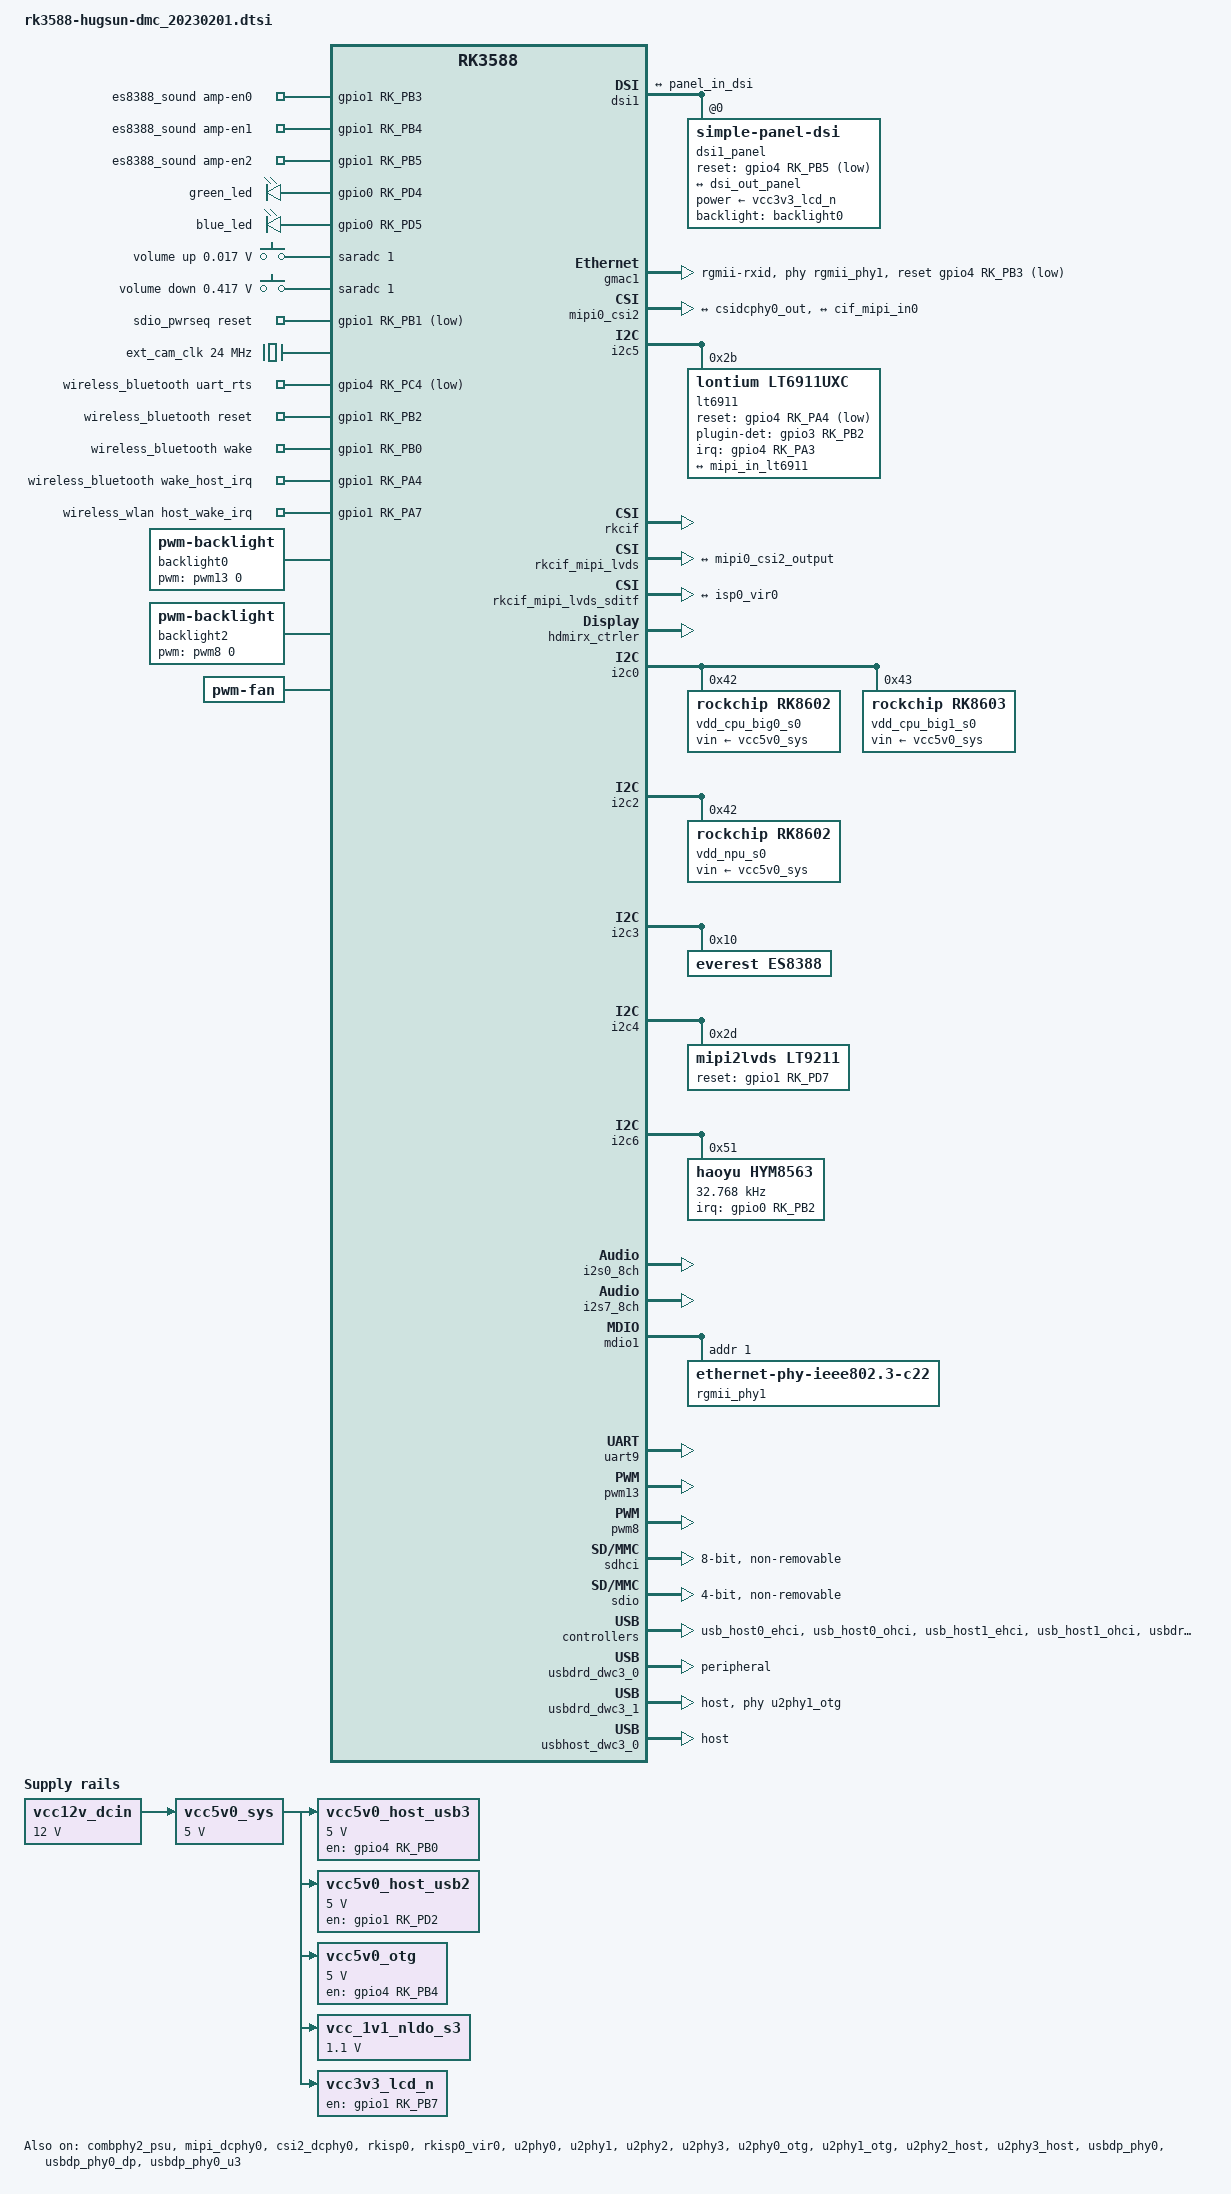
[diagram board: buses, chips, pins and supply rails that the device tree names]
// SPDX-License-Identifier: (GPL-2.0+ OR MIT)
/*
 * Copyright (c) 2021 Rockchip Electronics Co., Ltd.
 *
 */

#include "dt-bindings/usb/pd.h"
#include "rk3588.dtsi"
#include "rk3588-hugsun.dtsi"
#include "rk3588-rk806-single.dtsi"

/ {
	/* If hdmirx node is disabled, delete the reserved-memory node here. */
	reserved-memory {
		#address-cells = <2>;
		#size-cells = <2>;
		ranges;

		/* Reserve 256MB memory for hdmirx-controller@fdee0000 */
		cma {
			compatible = "shared-dma-pool";
			reusable;
			reg = <0x0 (256 * 0x100000) 0x0 (256 * 0x100000)>;
			linux,cma-default;
		};
	};

	es8388_sound: es8388-sound {
		status = "okay";
		compatible = "rockchip,multicodecs-card";
		rockchip,card-name = "rockchip-es8388";
		//hp-det-gpio = <&gpio3 RK_PB2 GPIO_ACTIVE_HIGH>;
		//spk-con-gpio = <&gpio1 RK_PB3 GPIO_ACTIVE_HIGH>;
		//hp-con-gpio = <&gpio1 RK_PB4 GPIO_ACTIVE_HIGH>;
		rockchip,amp-en-ctl;
		amp-en0-gpio = <&gpio1 RK_PB3 GPIO_ACTIVE_HIGH>;
		amp-en1-gpio = <&gpio1 RK_PB4 GPIO_ACTIVE_HIGH>;
		amp-en2-gpio = <&gpio1 RK_PB5 GPIO_ACTIVE_HIGH>;		
		pinctrl-names = "default";
		pinctrl-0 = <&ampen>;				
		rockchip,format = "i2s";
		rockchip,mclk-fs = <256>;
		rockchip,cpu = <&i2s0_8ch>;
		rockchip,codec = <&es8388>;
		rockchip,audio-routing =
			"Headphone", "LOUT1",
			"Headphone", "ROUT1",
			"Speaker", "LOUT2",
			"Speaker", "ROUT2",
			"Headphone", "Headphone Power",
			"Headphone", "Headphone Power",
			"Speaker", "Speaker Power",
			"Speaker", "Speaker Power",
			"LINPUT1", "Main Mic",
			"LINPUT2", "Main Mic",
			"RINPUT1", "Headset Mic",
			"RINPUT2", "Headset Mic";
	};

	rk_headset: rk-headset {
		status = "disabled";
		compatible = "rockchip_headset";
		headset_gpio = <&gpio3 RK_PB2 GPIO_ACTIVE_LOW>;
		pinctrl-names = "default";
		pinctrl-0 = <&hp_det>;
		io-channels = <&saradc 3>;
	};

	hdmiin_dc: hdmiin-dc {
		compatible = "rockchip,dummy-codec";
		#sound-dai-cells = <0>;
	};

	hdmiin-sound {
		compatible = "simple-audio-card";
		simple-audio-card,format = "i2s";
		simple-audio-card,name = "rockchip,hdmiin";
		simple-audio-card,bitclock-master = <&dailink0_master>;
		simple-audio-card,frame-master = <&dailink0_master>;
		status = "okay";
		simple-audio-card,cpu {
			sound-dai = <&i2s7_8ch>;
		};
		dailink0_master: simple-audio-card,codec {
			sound-dai = <&hdmiin_dc>;
		};
	};	

	leds: leds {
		compatible = "gpio-leds";
		green_led: green-led {
			gpios = <&gpio0 RK_PD4 GPIO_ACTIVE_HIGH>;
			default-state = "off";
		};
		blue_led: blue-led {
			gpios = <&gpio0 RK_PD5 GPIO_ACTIVE_HIGH>;
			default-state = "off";
		};
	};

	adc_keys: adc-keys {
		compatible = "adc-keys";
		io-channels = <&saradc 1>;
		io-channel-names = "buttons";
		keyup-threshold-microvolt = <1800000>;
		poll-interval = <100>;

		vol-up-key {
			label = "volume up";
			linux,code = <KEY_VOLUMEUP>;
			press-threshold-microvolt = <17000>;
		};

		vol-down-key {
			label = "volume down";
			linux,code = <KEY_VOLUMEDOWN>;
			press-threshold-microvolt = <417000>;
		};
	};

	sdio_pwrseq: sdio-pwrseq {
		compatible = "mmc-pwrseq-simple";
		clocks = <&hym8563>;
		clock-names = "ext_clock";
		pinctrl-names = "default";
		pinctrl-0 = <&wifi_enable_h>;
		/*
		 * On the module itself this is one of these (depending
		 * on the actual card populated):
		 * - SDIO_RESET_L_WL_REG_ON
		 * - PDN (power down when low)
		 */
		post-power-on-delay-ms = <200>;
		reset-gpios = <&gpio1 RK_PB1 GPIO_ACTIVE_LOW>;
	};

	vcc12v_dcin: vcc12v-dcin {
		compatible = "regulator-fixed";
		regulator-name = "vcc12v_dcin";
		regulator-always-on;
		regulator-boot-on;
		regulator-min-microvolt = <12000000>;
		regulator-max-microvolt = <12000000>;
	};

	vcc5v0_sys: vcc5v0-sys {
		compatible = "regulator-fixed";
		regulator-name = "vcc5v0_sys";
		regulator-always-on;
		regulator-boot-on;
		regulator-min-microvolt = <5000000>;
		regulator-max-microvolt = <5000000>;
		vin-supply = <&vcc12v_dcin>;
	};

	vcc5v0_host_usb3: vcc5v0-host-regulator-usb3 {
		compatible = "regulator-fixed";
		regulator-name = "vcc5v0_host";
		regulator-boot-on;
		regulator-always-on;
		regulator-min-microvolt = <5000000>;
		regulator-max-microvolt = <5000000>;
		enable-active-high;
		gpio = <&gpio4 RK_PB0 GPIO_ACTIVE_HIGH>;
		vin-supply = <&vcc5v0_sys>;
		pinctrl-names = "default";
		pinctrl-0 = <&vcc5v0_host_usb3_en>;
	};
	
	vcc5v0_host_usb2: vcc5v0-host-regulator-usb2 {
		compatible = "regulator-fixed";
		regulator-name = "vcc5v0_host";
		regulator-boot-on;
		regulator-always-on;
		regulator-min-microvolt = <5000000>;
		regulator-max-microvolt = <5000000>;
		enable-active-high;
		gpio = <&gpio1 RK_PD2 GPIO_ACTIVE_HIGH>;
		vin-supply = <&vcc5v0_sys>;
		pinctrl-names = "default";
		pinctrl-0 = <&vcc5v0_host_usb2_en>;
	};	

	vcc5v0_otg: vcc5v0-otg-regulator {
		compatible = "regulator-fixed";
		regulator-name = "vcc5v0_otg";
		regulator-min-microvolt = <5000000>;
		regulator-max-microvolt = <5000000>;
		enable-active-high;
		gpio = <&gpio4 RK_PB4 GPIO_ACTIVE_HIGH>;
		vin-supply = <&vcc5v0_sys>;
		pinctrl-names = "default";
		pinctrl-0 = <&vcc5v0_otg_en>;
	};

	vcc_1v1_nldo_s3: vcc-1v1-nldo-s3 {
		compatible = "regulator-fixed";
		regulator-name = "vcc_1v1_nldo_s3";
		regulator-always-on;
		regulator-boot-on;
		regulator-min-microvolt = <1100000>;
		regulator-max-microvolt = <1100000>;
		vin-supply = <&vcc5v0_sys>;
	};

	vcc3v3_lcd_n: vcc3v3-lcd0-n {
		compatible = "regulator-fixed";
		regulator-name = "vcc3v3_lcd0_n";
		regulator-boot-on;
		enable-active-high;
		gpio = <&gpio1 RK_PB7 GPIO_ACTIVE_HIGH>;
		vin-supply = <&vcc5v0_sys>;
	};
	
	ext_cam_clk: external-camera-clock {
		compatible = "fixed-clock";
		clock-frequency = <24000000>;
		clock-output-names = "CLK_CAMERA_24MHZ";
		#clock-cells = <0>;
	};	

	wireless_bluetooth: wireless-bluetooth {
		compatible = "bluetooth-platdata";
		clocks = <&hym8563>;
		clock-names = "ext_clock";
		uart_rts_gpios = <&gpio4 RK_PC4 GPIO_ACTIVE_LOW>;
		pinctrl-names = "default", "rts_gpio";
		pinctrl-0 = <&uart9m0_rtsn>, <&bt_gpio>;
		pinctrl-1 = <&uart9_gpios>;
		BT,reset_gpio    = <&gpio1 RK_PB2 GPIO_ACTIVE_HIGH>;
		BT,wake_gpio     = <&gpio1 RK_PB0 GPIO_ACTIVE_HIGH>;
		BT,wake_host_irq = <&gpio1 RK_PA4 GPIO_ACTIVE_HIGH>;
		status = "okay";
	};

	wireless_wlan: wireless-wlan {
		compatible = "wlan-platdata";
		wifi_chip_type = "ap6398s";
		pinctrl-names = "default";
		pinctrl-0 = <&wifi_host_wake_irq>;
		WIFI,host_wake_irq = <&gpio1 RK_PA7 GPIO_ACTIVE_HIGH>;
		//WIFI,poweren_gpio = <&gpio1 RK_PB1 GPIO_ACTIVE_HIGH>;
		status = "okay";
	};

	backlight0: backlight0 {
		compatible = "pwm-backlight";
		pwms = <&pwm13 0 25000 0>;
		brightness-levels = <
			  0  20  20  21  21  22  22  23
			 23  24  24  25  25  26  26  27
			 27  28  28  29  29  30  30  31
			 31  32  32  33  33  34  34  35
			 35  36  36  37  37  38  38  39
			 40  41  42  43  44  45  46  47
			 48  49  50  51  52  53  54  55
			 56  57  58  59  60  61  62  63
			 64  65  66  67  68  69  70  71
			 72  73  74  75  76  77  78  79
			 80  81  82  83  84  85  86  87
			 88  89  90  91  92  93  94  95
			 96  97  98  99 100 101 102 103
			104 105 106 107 108 109 110 111
			112 113 114 115 116 117 118 119
			120 121 122 123 124 125 126 127
			128 129 130 131 132 133 134 135
			136 137 138 139 140 141 142 143
			144 145 146 147 148 149 150 151
			152 153 154 155 156 157 158 159
			160 161 162 163 164 165 166 167
			168 169 170 171 172 173 174 175
			176 177 178 179 180 181 182 183
			184 185 186 187 188 189 190 191
			192 193 194 195 196 197 198 199
			200 201 202 203 204 205 206 207
			208 209 210 211 212 213 214 215
			216 217 218 219 220 221 222 223
			224 225 226 227 228 229 230 231
			232 233 234 235 236 237 238 239
			240 241 242 243 244 245 246 247
			248 249 250 251 252 253 254 255
		>;
		default-brightness-level = <200>;
	};
	
	backlight2: backlight2 {
		compatible = "pwm-backlight";
		pwms = <&pwm8 0 25000 0>;
		brightness-levels = <
			  0  20  20  21  21  22  22  23
			 23  24  24  25  25  26  26  27
			 27  28  28  29  29  30  30  31
			 31  32  32  33  33  34  34  35
			 35  36  36  37  37  38  38  39
			 40  41  42  43  44  45  46  47
			 48  49  50  51  52  53  54  55
			 56  57  58  59  60  61  62  63
			 64  65  66  67  68  69  70  71
			 72  73  74  75  76  77  78  79
			 80  81  82  83  84  85  86  87
			 88  89  90  91  92  93  94  95
			 96  97  98  99 100 101 102 103
			104 105 106 107 108 109 110 111
			112 113 114 115 116 117 118 119
			120 121 122 123 124 125 126 127
			128 129 130 131 132 133 134 135
			136 137 138 139 140 141 142 143
			144 145 146 147 148 149 150 151
			152 153 154 155 156 157 158 159
			160 161 162 163 164 165 166 167
			168 169 170 171 172 173 174 175
			176 177 178 179 180 181 182 183
			184 185 186 187 188 189 190 191
			192 193 194 195 196 197 198 199
			200 201 202 203 204 205 206 207
			208 209 210 211 212 213 214 215
			216 217 218 219 220 221 222 223
			224 225 226 227 228 229 230 231
			232 233 234 235 236 237 238 239
			240 241 242 243 244 245 246 247
			248 249 250 251 252 253 254 255
		>;
		default-brightness-level = <200>;
	};	

	fan: pwm-fan {
		compatible = "pwm-fan";
		#cooling-cells = <2>;
		//pwms = <&pwm9 0 50000 0>;
	};
};

&combphy2_psu {
	status = "okay";
};

&dsi1 {
	status = "okay";
	//rockchip,lane-rate = <1000>;
	dsi1_panel: panel@0 {
		status = "okay";
		compatible = "simple-panel-dsi";
		reg = <0>;
		backlight = <&backlight0>;
		power-supply = <&vcc3v3_lcd_n>;
		reset-gpios = <&gpio4 RK_PB5 GPIO_ACTIVE_LOW>;
		pinctrl-names = "default";
		pinctrl-0 = <&lcd_rst_gpio>;
		reset-delay-ms = <10>;
		enable-delay-ms = <10>;
		prepare-delay-ms = <10>;
		unprepare-delay-ms = <10>;
		disable-delay-ms = <60>;
		dsi,flags = <(MIPI_DSI_MODE_VIDEO | MIPI_DSI_MODE_VIDEO_BURST |
			MIPI_DSI_MODE_LPM | MIPI_DSI_MODE_EOT_PACKET)>;
		dsi,format = <MIPI_DSI_FMT_RGB888>;
		dsi,lanes  = <4>;

		panel-init-sequence = [
		];

		panel-exit-sequence = [
		];

		display-timings {
			native-mode = <&timing0>;
			//					     //hfp, hs, hbp,hact,htotal,vfp, vs, vbp, vact,vtotal,pixclk_khz
			//struct video_timing video_1920x1080_60Hz   ={88, 44, 148,1920,  2200,  4,  5,  36, 1080, 1125, 148500};
			timing0: timing0 {
				clock-frequency = <148500000>;
				hactive = <1920>;
				vactive = <1080>; //<2160>;
				hback-porch = <148>;
				hfront-porch = <88>;
				hsync-len = <44>;
				vback-porch = <36>;
				vfront-porch = <4>;
				vsync-len = <5>;
				hsync-active = <0>;
				vsync-active = <0>;
				de-active = <0>;
				pixelclk-active = <0>;
				};
		};


		ports {
			#address-cells = <1>;
			#size-cells = <0>;

			port@0 {
				reg = <0>;
				panel_in_dsi: endpoint {
					remote-endpoint = <&dsi_out_panel>;
				};
			};
		};
	};

	ports {
		#address-cells = <1>;
		#size-cells = <0>;

		port@1 {
			reg = <1>;
			dsi_out_panel: endpoint {
				remote-endpoint = <&panel_in_dsi>;
			};
		};
	};

};

&gmac1 {
	/* Use rgmii-rxid mode to disable rx delay inside Soc */
	phy-mode = "rgmii-rxid";
	clock_in_out = "output";

	snps,reset-gpio = <&gpio4 RK_PB3 GPIO_ACTIVE_LOW>;
	snps,reset-active-low;
	/* Reset time is 20ms, 100ms for rtl8211f */
	snps,reset-delays-us = <0 20000 100000>;

	pinctrl-names = "default";
	pinctrl-0 = <&gmac1_miim
		     &gmac1_tx_bus2
		     &gmac1_rx_bus2
		     &gmac1_rgmii_clk
		     &gmac1_rgmii_bus>;

	tx_delay = <0x42>;
	/* rx_delay = <0x4f>; */

	phy-handle = <&rgmii_phy1>;
	status = "okay";
};

/* lt6911 hdmi in */
&mipi_dcphy0 {
	status = "okay";
};

&mipi0_csi2 {
	status = "okay";

	ports {
		#address-cells = <1>;
		#size-cells = <0>;

		port@0 {
			reg = <0>;
			#address-cells = <1>;
			#size-cells = <0>;

			mipi0_csi2_input: endpoint@1 {
				reg = <1>;
				remote-endpoint = <&csidcphy0_out>;
			};
		};

		port@1 {
			reg = <1>;
			#address-cells = <1>;
			#size-cells = <0>;

			mipi0_csi2_output: endpoint@0 {
				reg = <0>;
				remote-endpoint = <&cif_mipi_in0>;
			};
		};
	};
};

&csi2_dcphy0 {
	status = "okay";

	ports {
		#address-cells = <1>;
		#size-cells = <0>;
		port@0 {
			reg = <0>;
			#address-cells = <1>;
			#size-cells = <0>;

			mipi_in_lt6911: endpoint@1 {
				reg = <1>;
				remote-endpoint = <&lt6911_out>;
				data-lanes = <1 2 3 4>;
			};
		};
		port@1 {
			reg = <1>;
			#address-cells = <1>;
			#size-cells = <0>;

			csidcphy0_out: endpoint@0 {
				reg = <0>;
				remote-endpoint = <&mipi0_csi2_input>;
			};
		};
	};
};

&i2c5 {
	pinctrl-names = "default";
	pinctrl-0 = <&i2c5m2_xfer>;
	status = "okay";

	lt6911:lt6911@2b {
		compatible = "lontium,lt6911uxc";
		status = "okay";
		reg = <0x2b>;
		clocks = <&ext_cam_clk>;
		clock-names = "xvclk";
		power-domains = <&power RK3588_PD_VI>;
		pinctrl-names = "default";
		pinctrl-0 = <&lt6911uxc_pin>;
		interrupt-parent = <&gpio4>;
		interrupts = <RK_PA3 IRQ_TYPE_LEVEL_LOW>;
		//power-gpios = <&gpio3 RK_PB2 GPIO_ACTIVE_HIGH>;
		reset-gpios = <&gpio4 RK_PA4 GPIO_ACTIVE_LOW>;
		plugin-det-gpios = <&gpio3 RK_PB2 GPIO_ACTIVE_HIGH>;
		rockchip,camera-module-index = <1>;
		rockchip,camera-module-facing = "back";
		rockchip,camera-module-name = "lt6911";
		rockchip,camera-module-lens-name = "default";
		port {
			lt6911_out: endpoint {
				remote-endpoint = <&mipi_in_lt6911>;
				data-lanes = <1 2 3 4>;
			};
		};
	};
};


&rkcif {
	status = "okay";
};

&rkcif_mipi_lvds {
	status = "okay";

	port {
		cif_mipi_in0: endpoint {
			remote-endpoint = <&mipi0_csi2_output>;
		};
	};
};

&rkcif_mipi_lvds_sditf {
	status = "okay";

	port {
		mipi_lvds_sditf: endpoint {
			remote-endpoint = <&isp0_vir0>;
		};
	};
};

&rkcif_mmu {
	status = "okay";
};

&rkisp0 {
	status = "okay";
};

&isp0_mmu {
	status = "okay";
};

&rkisp0_vir0 {
	status = "okay";

	port {
		#address-cells = <1>;
		#size-cells = <0>;

		isp0_vir0: endpoint@0 {
			reg = <0>;
			remote-endpoint = <&mipi_lvds_sditf>;
		};
	};
};
/* lt6911 hdmi in end */

/* Should work with at least 128MB cma reserved above. */
&hdmirx_ctrler {
	status = "okay";

	/* Effective level used to trigger HPD: 0-low, 1-high */
	hpd-trigger-level = <1>;
	hdmirx-det-gpios = <&gpio1 29 GPIO_ACTIVE_LOW>;   //gpio1_d5
};

&i2c0 {
	status = "okay";
	pinctrl-names = "default";
	pinctrl-0 = <&i2c0m2_xfer>;

	vdd_cpu_big0_s0: vdd_cpu_big0_mem_s0: rk8602@42 {
		compatible = "rockchip,rk8602";
		reg = <0x42>;
		vin-supply = <&vcc5v0_sys>;
		regulator-compatible = "rk860x-reg";
		regulator-name = "vdd_cpu_big0_s0";
		regulator-min-microvolt = <550000>;
		regulator-max-microvolt = <1050000>;
		regulator-ramp-delay = <2300>;
		rockchip,suspend-voltage-selector = <1>;
		regulator-boot-on;
		regulator-always-on;
		regulator-state-mem {
			regulator-off-in-suspend;
		};
	};

	vdd_cpu_big1_s0: vdd_cpu_big1_mem_s0: rk8603@43 {
		compatible = "rockchip,rk8603";
		reg = <0x43>;
		vin-supply = <&vcc5v0_sys>;
		regulator-compatible = "rk860x-reg";
		regulator-name = "vdd_cpu_big1_s0";
		regulator-min-microvolt = <550000>;
		regulator-max-microvolt = <1050000>;
		regulator-ramp-delay = <2300>;
		rockchip,suspend-voltage-selector = <1>;
		regulator-boot-on;
		regulator-always-on;
		regulator-state-mem {
			regulator-off-in-suspend;
		};
	};
};

&i2c2 {
	status = "okay";

	vdd_npu_s0: vdd_npu_mem_s0: rk8602@42 {
		compatible = "rockchip,rk8602";
		reg = <0x42>;
		vin-supply = <&vcc5v0_sys>;
		regulator-compatible = "rk860x-reg";
		regulator-name = "vdd_npu_s0";
		regulator-min-microvolt = <550000>;
		regulator-max-microvolt = <950000>;
		regulator-ramp-delay = <2300>;
		rockchip,suspend-voltage-selector = <1>;
		regulator-boot-on;
		regulator-always-on;
		regulator-state-mem {
			regulator-off-in-suspend;
		};
	};
};

&i2c3 {
	status = "okay";
	es8388: es8388@10 {
		status = "okay";
		#sound-dai-cells = <0>;
		compatible = "everest,es8388", "everest,es8323";
		reg = <0x10>;
		clocks = <&cru I2S0_8CH_MCLKOUT>;
		clock-names = "mclk";
		assigned-clocks = <&cru I2S0_8CH_MCLKOUT>;
		assigned-clock-rates = <12288000>;
		pinctrl-names = "default";
		pinctrl-0 = <&i2s0_mclk>;
	};
};

&i2c4 {
	pinctrl-names = "default";
	pinctrl-0 = <&i2c4m3_xfer>;
	status = "okay";

	lt9211: lt9211@2d {  //5A
		compatible = "mipi2lvds,lt9211";
		reg = <0x2d>;
		reset_gpio = <&gpio1 RK_PD7 GPIO_ACTIVE_HIGH>;
		pinctrl-names = "default";   
		pinctrl-0 = <&lt9211_gpio>;
		status = "okay";
	};
};

&i2c6 {
	status = "okay";
	hym8563: hym8563@51 {
		compatible = "haoyu,hym8563";
		reg = <0x51>;
		#clock-cells = <0>;
		clock-frequency = <32768>;
		clock-output-names = "hym8563";
		pinctrl-names = "default";
		pinctrl-0 = <&hym8563_int>;
		interrupt-parent = <&gpio0>;
		interrupts = <RK_PB2 IRQ_TYPE_LEVEL_LOW>;
		wakeup-source;
	};
};

&i2s0_8ch {
	status = "okay";
	pinctrl-0 = <&i2s0_lrck
		     &i2s0_sclk
		     &i2s0_sdi0
		     &i2s0_sdo0>;
};


//hdmiin sound
&i2s7_8ch {
	status = "okay";
};
&mdio1 {
	rgmii_phy1: phy@1 {
		compatible = "ethernet-phy-ieee802.3-c22";
		reg = <0x1>;
	};
};


&rk806single {
	pinctrl-names = "default", "pmic-power-off";
	pinctrl-0 = <&pmic_pins>, <&rk806_dvs1_null>, <&rk806_dvs2_null>, <&rk806_dvs3_null>;
	pinctrl-1 = <&rk806_dvs1_slp>, <&rk806_dvs2_null>, <&rk806_dvs3_null>;

	regulators {
		avcc_1v8_s0: PLDO_REG1 {
			regulator-always-on;
			regulator-boot-on;
			regulator-min-microvolt = <1800000>;
			regulator-max-microvolt = <1800000>;
			regulator-name = "avcc_1v8_s0";
			regulator-state-mem {
				regulator-on-in-suspend;
				regulator-suspend-microvolt = <1800000>;
			};
		};
	};
};

&vdd_log_s0 {  //fox.luo@2022.05.26 don't wake up 
        regulator-state-mem {
        regulator-on-in-suspend;
        regulator-suspend-microvolt = <750000>;
        };
};

&rockchip_suspend {
	status = "okay";
	rockchip,sleep-debug-en = <1>;
	rockchip,virtual-poweroff = <1>;
	rockchip,sleep-mode-config = <
		(0
		| RKPM_SLP_ARMOFF_DDRPD
		)
	>;
	rockchip,wakeup-config = <
		(0
		| RKPM_CPU0_WKUP_EN
		| RKPM_GPIO_WKUP_EN
		)
	>;
};

&uart9 {
	status = "okay";
	pinctrl-names = "default";
	pinctrl-0 = <&uart9m0_xfer &uart9m0_ctsn>;
};

&pwm13 {
	pinctrl-0 = <&pwm13m1_pins>;
	status = "okay";
};

&pwm8 {
	pinctrl-0 = <&pwm8m2_pins>;
	status = "okay";
};

&sdhci {
	bus-width = <8>;
	no-sdio;
	no-sd;
	non-removable;
	max-frequency = <200000000>;
	mmc-hs400-1_8v;
	mmc-hs400-enhanced-strobe;
	status = "okay";
};

&sdio {
	max-frequency = <150000000>;
	no-sd;
	no-mmc;
	bus-width = <4>;
	disable-wp;
	cap-sd-highspeed;
	cap-sdio-irq;
	keep-power-in-suspend;
	mmc-pwrseq = <&sdio_pwrseq>;
	non-removable;
	pinctrl-names = "default";
	pinctrl-0 = <&sdiom0_pins>;
	sd-uhs-sdr104;
	status = "okay";
};

&pinctrl {
	sdio-pwrseq {
		wifi_enable_h: wifi-enable-h {
		       rockchip,pins = <1 RK_PB1 RK_FUNC_GPIO &pcfg_pull_none>;
	       };
	};


	wireless-bluetooth {
		uart9_gpios: uart9-gpios {
			rockchip,pins = <4 RK_PC3 RK_FUNC_GPIO &pcfg_pull_none>;
		};

		bt_gpio: bt-gpio {
			rockchip,pins =
				<1 RK_PB2 RK_FUNC_GPIO &pcfg_pull_none>,
				<1 RK_PB0 RK_FUNC_GPIO &pcfg_pull_up>,
				<1 RK_PA4 RK_FUNC_GPIO &pcfg_pull_down>;
		};
	};

	wireless-wlan {
		wifi_host_wake_irq: wifi-host-wake-irq {
			rockchip,pins = <1 RK_PA7 RK_FUNC_GPIO &pcfg_pull_down>;
		};
		
		//wifi_poweren_gpio: wifi-poweren-gpio {
		//	rockchip,pins = <1 RK_PB1 RK_FUNC_GPIO &pcfg_pull_up>;
		//};		
	};
	
	lt9211 {
		lt9211_gpio: lt9211-gpio{
			rockchip,pins =
				<1 RK_PD7 RK_FUNC_GPIO &pcfg_pull_up>;
			};
	};
	
	headphone {
		hp_det: hp-det {
			rockchip,pins = <3 RK_PB2 RK_FUNC_GPIO &pcfg_pull_none>;
		};
	};

	hym8563 {
		hym8563_int: hym8563-int {
			rockchip,pins = <0 RK_PB2 RK_FUNC_GPIO &pcfg_pull_up>;
		};
	};
	
	es8323 {
		ampen: ampen-int {
			rockchip,pins = 
				<1 RK_PB3 RK_FUNC_GPIO &pcfg_pull_up>,
				<1 RK_PB4 RK_FUNC_GPIO &pcfg_pull_up>,
				<1 RK_PB5 RK_FUNC_GPIO &pcfg_pull_up>;
		};
	};	

	lcd {
		lcd_rst_gpio: lcd-rst-gpio {
			rockchip,pins = <4 RK_PB5 RK_FUNC_GPIO &pcfg_pull_none>;
		};
	};

	usb {
		vcc5v0_host_usb3_en: vcc5v0-host-usb3-en {
			rockchip,pins = <4 RK_PB0 RK_FUNC_GPIO &pcfg_pull_none>;
		};

		vcc5v0_host_usb2_en: vcc5v0-host-usb2-en {
			rockchip,pins = <1 RK_PD2 RK_FUNC_GPIO &pcfg_pull_none>;
		};

		vcc5v0_otg_en: vcc5v0-otg-en {
			rockchip,pins = <4 RK_PB4 RK_FUNC_GPIO &pcfg_pull_none>;
		};
	};
		
	hdmiin {
		lt6911uxc_pin: lt6911uxc-pin {
			rockchip,pins = <3 RK_PB2 RK_FUNC_GPIO &pcfg_pull_none>,
					<4 RK_PA3 RK_FUNC_GPIO &pcfg_pull_none>,
					<4 RK_PA4 RK_FUNC_GPIO &pcfg_pull_none>;
		};
	};		
};

//type-c0
&u2phy0 {
	status = "okay";
};

&u2phy1 {
	status = "okay";
};

//usb2.0 host0
&u2phy2 {
	status = "okay";
};

//usb2.0 host1
&u2phy3 {
	status = "okay";
};

&u2phy0_otg {
	//phy-supply = <&vcc5v0_host>;
	vbus-supply = <&vcc5v0_otg>;
	status = "okay";
};

&u2phy1_otg {
	rockchip,sel-pipe-phystatus;
	phy-supply = <&vcc5v0_host_usb2>;
	status = "okay";
};

&u2phy2_host {
	phy-supply = <&vcc5v0_host_usb2>;
	status = "okay";
};

&u2phy3_host {
	phy-supply = <&vcc5v0_host_usb3>;
	status = "okay";
};

&usb_host0_ehci {
	status = "okay";
};

&usb_host0_ohci {
	status = "okay";
};

&usb_host1_ehci {
	status = "okay";
};

&usb_host1_ohci {
	status = "okay";
};

&usbdp_phy0 {
	rockchip,dp-lane-mux = < 2 3 >;
	status = "okay";
};

&usbdp_phy0_dp {
	status = "okay";
};

&usbdp_phy0_u3 {
	status = "okay";
};

&usbdp_phy1 {
	status = "disabled";
};

&usbdp_phy1_dp {
	status = "disabled";
};

&usbdp_phy1_u3 {
	status = "disabled";
};

&usbdrd3_0 {
	status = "okay";
};

&usbdrd3_1 {
	status = "okay";
};

&usbdrd_dwc3_0 {
	dr_mode = "peripheral";
	//dr_mode = "otg";
	extcon = <&u2phy0>;	
	status = "okay";
};

&usbdrd_dwc3_1 {
	dr_mode = "host";
	phys = <&u2phy1_otg>;
	maximum-speed = "high-speed";
	status = "okay";
};

&usbhost3_0 {
	status = "okay";
};

&usbhost_dwc3_0 {
	dr_mode = "host";
	status = "okay";
};

&vdd_vdenc_s0 {
	regulator-init-microvolt = <750000>;
};

